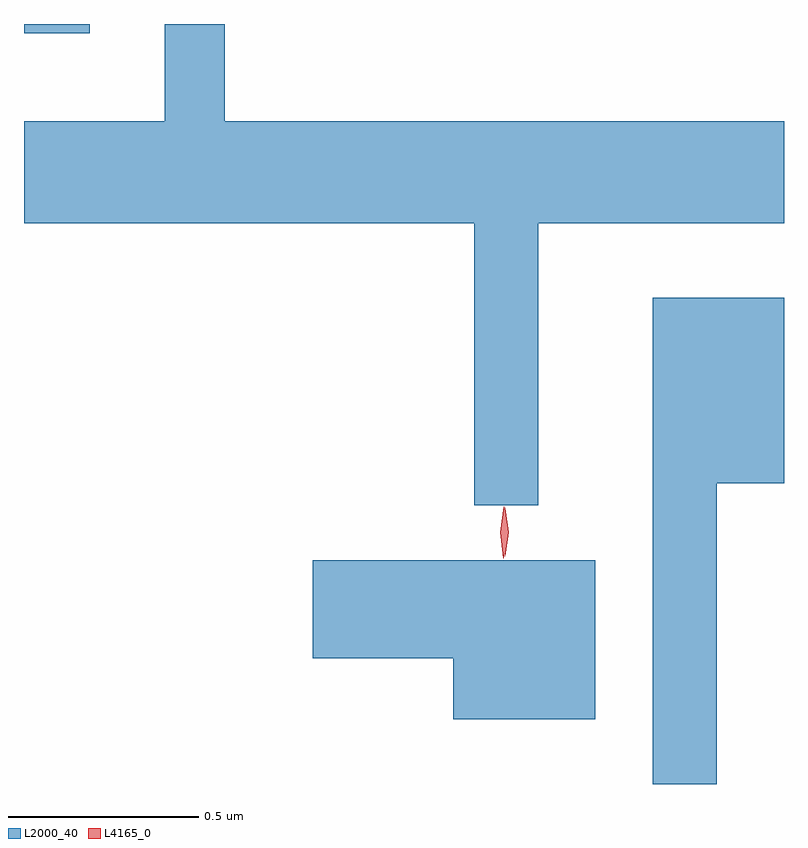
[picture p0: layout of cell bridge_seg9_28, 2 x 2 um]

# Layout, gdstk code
import gdstk
lib = gdstk.Library(unit=1e-6, precision=1e-09)
def R(c, l, rs):  # rectangles x0, y0, x1, y1
    for r in rs: c.add(gdstk.rectangle(r[:2], r[2:], *l))
def P(c, l, *ps):  # polygons
    for p in ps: c.add(gdstk.Polygon(p, *l))
L2000_40 = (2000, 40)
L4165_0 = (4165, 0)

bridge_seg9_28 = lib.new_cell('bridge_seg9_28')
R(bridge_seg9_28, L2000_40, [(1579.466,2070.016,1579.639,2070.04)])
P(bridge_seg9_28, L2000_40, [(1580.819,2069.516),(1581.466,2069.516),(1581.466,2069.784),(1579.994,2069.784),(1579.994,2070.04),(1579.836,2070.04),(1579.836,2069.784),(1579.466,2069.784),(1579.466,2069.516),(1580.651,2069.516),(1580.651,2068.773),(1580.819,2068.773)],
  [(1581.289,2068.831),(1581.466,2068.831),(1581.466,2069.319),(1581.121,2069.319),(1581.121,2068.04),(1581.289,2068.04)],
  [(1580.969,2068.629),(1580.226,2068.629),(1580.226,2068.371),(1580.596,2068.371),(1580.596,2068.211),(1580.969,2068.211)])
P(bridge_seg9_28, L4165_0, [(1580.732,2068.64),(1580.732,2068.64),(1580.722,2068.703),(1580.732,2068.766),(1580.732,2068.767),(1580.733,2068.766),(1580.742,2068.703),(1580.733,2068.64)],
  [(1580.727,2068.634),(1580.719,2068.702),(1580.729,2068.77),(1580.73,2068.77),(1580.73,2068.77),(1580.739,2068.702),(1580.728,2068.634),(1580.728,2068.634)])

lib.write_gds('bridge_seg9_28.gds')
